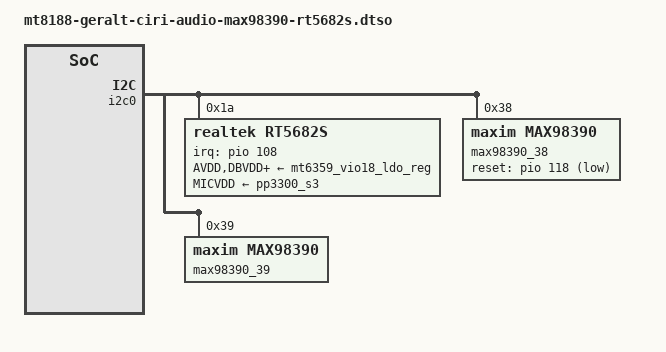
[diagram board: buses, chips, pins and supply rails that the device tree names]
// SPDX-License-Identifier: (GPL-2.0 OR MIT)
/*
 * Copyright 2023 Google LLC
 */
#include <dt-bindings/gpio/gpio.h>
#include <dt-bindings/interrupt-controller/irq.h>
/dts-v1/;
/plugin/;

&i2c0 {
	#address-cells = <1>;
	#size-cells = <0>;

	rt5682s: audio-codec@1a {
		compatible = "realtek,rt5682s";
		reg = <0x1a>;
		interrupts-extended = <&pio 108 IRQ_TYPE_EDGE_BOTH>;
		pinctrl-names = "default";
		pinctrl-0 = <&audio_codec_pins>;
		#sound-dai-cells = <1>;

		AVDD-supply = <&mt6359_vio18_ldo_reg>;
		DBVDD-supply = <&mt6359_vio18_ldo_reg>;
		LDO1-IN-supply = <&mt6359_vio18_ldo_reg>;
		MICVDD-supply = <&pp3300_s3>;
		realtek,jd-src = <1>;
	};

	max98390_38: amplifier@38 {
		compatible = "maxim,max98390";
		reg = <0x38>;
		sound-name-prefix = "Front Right";
		reset-gpios = <&pio 118 GPIO_ACTIVE_LOW>;
		pinctrl-names = "default";
		pinctrl-0 = <&speaker_en>;
		#sound-dai-cells = <0>;
	};

	max98390_39: amplifier@39 {
		compatible = "maxim,max98390";
		reg = <0x39>;
		sound-name-prefix = "Front Left";
		#sound-dai-cells = <0>;
	};
};

&sound {
	compatible = "mediatek,mt8188-rt5682s";
	model = "mt8188_m98390_5682";

	audio-routing =
		"ETDM1_OUT", "ETDM_SPK_PIN",
		"ETDM2_OUT", "ETDM_HP_PIN",
		"ETDM1_IN", "ETDM_SPK_PIN",
		"ETDM2_IN", "ETDM_HP_PIN",
		"ADDA Capture", "MTKAIF_PIN",
		"Headphone Jack", "HPOL",
		"Headphone Jack", "HPOR",
		"IN1P", "Headset Mic",
		"Left Spk", "Front Left BE_OUT",
		"Right Spk", "Front Right BE_OUT";

	dai-link-1 {
		codec {
			sound-dai = <&max98390_38>,
				    <&max98390_39>;
		};
	};

	dai-link-2 {
		codec {
			sound-dai = <&rt5682s 0>;
		};
	};

	dai-link-3 {
		codec {
			sound-dai = <&rt5682s 0>;
		};
	};
};
